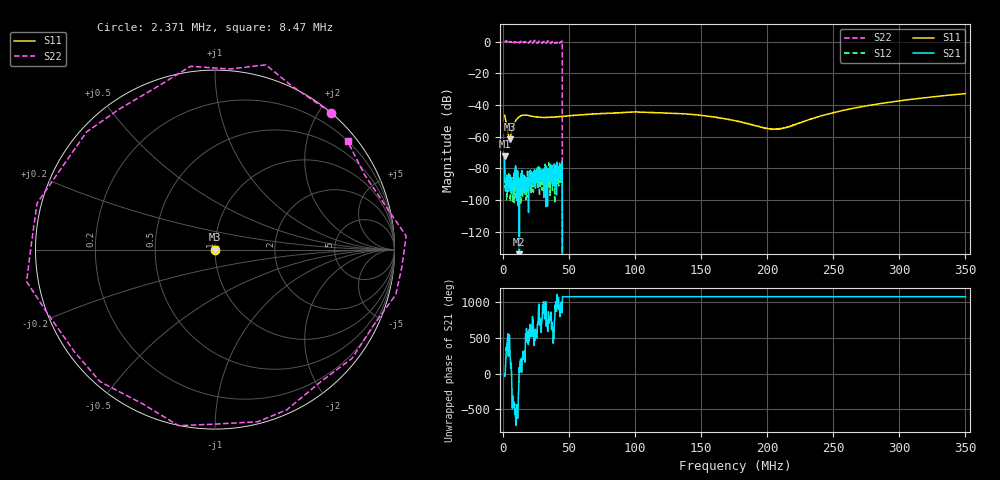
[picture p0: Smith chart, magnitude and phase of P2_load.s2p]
# Hz S RI R 50
! RAW DATA - UNCALIBRATED
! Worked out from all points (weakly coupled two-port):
!   1601 points, 1.5 MHz to 350 MHz, reference 50 ohm
!   highest |S21| = -72.43 dB at 1.5 MHz (marker M1); lowest = -185.0 dB at 12.61 MHz (marker M2)
!   lowest |S11| = -61.8 dB at 5.203 MHz (marker M3), VSWR 1.00, Z = 49.9 - j0.0265 ohm
!   |S11| at or under -10 dB: start of sweep to end of sweep
!   |S22| runs from - to 0.7 dB; largest |S21 - S12| = 0.00023
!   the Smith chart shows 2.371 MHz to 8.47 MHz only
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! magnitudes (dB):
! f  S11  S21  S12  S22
! 1.5 MHz  -46.6  -72.4  -80.4  0.5
! 3.46 MHz  -54.5  -90.8  -92.3  -0.3
! 4.332 MHz  -59.0  -94.3  -91.6  0.2
! 5.203 MHz  -61.8  -91.9  -91.2  -0.3
! 6.292 MHz  -58.7  -93.0  -86.7  -0.1
! 9.559 MHz  -50.4  -88.4  -90.5  -0.2
! 12.61 MHz  -47.5  -185.0  -90.3  -0.4
! 16.96 MHz  -46.3  -96.5  -89.7  -0.3
! 29.82 MHz  -47.9  -88.2  -93.9  -1.0
! 43.32 MHz  -47.3  -80.6  -81.7  -0.8
! 47.02 MHz  -47.2  -  -  -
! 59.66 MHz  -46.2  -  -  -
! 99.52 MHz  -44.5  -  -  -
! 117.8 MHz  -44.9  -  -  -
! 146.8 MHz  -46.3  -  -  -
! 175.8 MHz  -49.9  -  -  -
! 206 MHz  -55.3  -  -  -
! 215.4 MHz  -53.9  -  -  -
! 233.9 MHz  -48.7  -  -  -
! 258.1 MHz  -43.3  -  -  -
! 292.1 MHz  -38.4  -  -  -
! 350 MHz  -32.9  -  -  -
